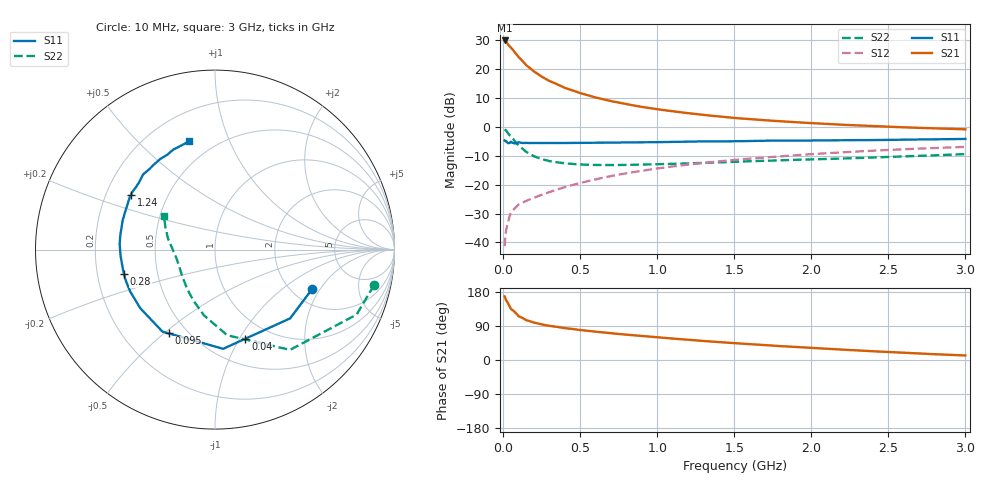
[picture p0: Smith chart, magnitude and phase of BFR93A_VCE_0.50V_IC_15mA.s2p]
! Infineon Technologies  Discrete & RF Semiconductors
! BFR93A
! VCE = 0.50 V,  IC =  15 mA
! Common Emitter S-Parameters:  Nov 2015
# GHz  S  MA  R  50
!  f  S11  S21  S12  S22
! GHz  MAG  ANG  MAG  ANG  MAG  ANG  MAG  ANG
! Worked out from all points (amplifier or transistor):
!   180 points, 10 MHz to 3 GHz, reference 50 ohm
!   highest |S21| = 30.0 dB at 10 MHz (marker M1)
!   |S21| within 3 dB of that: start of sweep to 59.63 MHz
!   unconditionally stable (mu >= 1): 371 MHz to end of sweep
!   at 160 MHz: K = 0.68, MSG = 23.2 dB, |S12| = -25.4 dB
!   at 1.22 GHz: K = 1.14, MAG = 6.5 dB, |S12| = -12.9 dB
!   at 3 GHz: K = 1.05, MAG = 1.7 dB, |S12| = -6.9 dB
!   S11 on the Smith chart (normalised r, x): 10 MHz: 2.53, -1.70; 40 MHz: 0.78, -1.06; 95 MHz: 0.40, -0.52; 280 MHz: 0.32, -0.12; 1.24 GHz: 0.31, +0.27; 3 GHz: 0.37, +0.72
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0.01  0.5836 -22.3  31.46 168.0  0.0086 81.8  0.9077 -12.6
0.02  0.5674 -42.5  29.64 157.4  0.0164 73.1  0.8683 -24.6
0.04  0.5245 -71.1  25.35 143.5  0.0269 61.4  0.7325 -42.3
0.05  0.5546 -85.3  23.89 135.0  0.0324 58.5  0.6978 -53.2
0.095  0.5336 -119.0  16.93 118.2  0.0437 50.2  0.496 -78.0
0.1  0.5427 -122.6  16.29 115.5  0.045 49.5  0.4818 -81.9
0.15  0.5291 -141.9  11.77 105.1  0.0524 48.9  0.3716 -99.5
0.2  0.5273 -153.7  9.147 98.7  0.0593 50.7  0.3114 -112.1
0.24  0.5258 -160.1  7.77 95.0  0.0652 52.3  0.2837 -119.8
0.28  0.525 -164.9  6.726 91.7  0.0713 53.7  0.2642 -126.5
0.3  0.5249 -167.1  6.261 90.1  0.0743 54.4  0.2562 -129.7
0.4  0.5272 -176.2  4.753 84.1  0.0905 57.4  0.2343 -141.6
0.52  0.5321 175.5  3.729 78.3  0.11 58.9  0.2225 -151.1
0.6  0.5337 171.3  3.239 74.7  0.1234 59.3  0.2194 -156.5
0.7  0.535 166.9  2.8 70.6  0.1407 59.2  0.2184 -161.7
0.84  0.5402 161.0  2.372 65.5  0.1638 58.5  0.2208 -167.9
1.02  0.5461 154.2  1.991 59.3  0.1936 57.0  0.2259 -174.0
1.24  0.5588 146.9  1.684 52.2  0.2285 54.4  0.2357 179.8
1.52  0.5649 138.6  1.417 44.0  0.2708 50.8  0.2502 173.5
2.02  0.5835 125.6  1.157 31.5  0.3401 43.7  0.2749 164.3
2.52  0.5985 114.3  1.005 20.8  0.4017 35.9  0.303 155.6
3  0.6199 103.5  0.909 11.9  0.4517 28.4  0.3387 146.9
